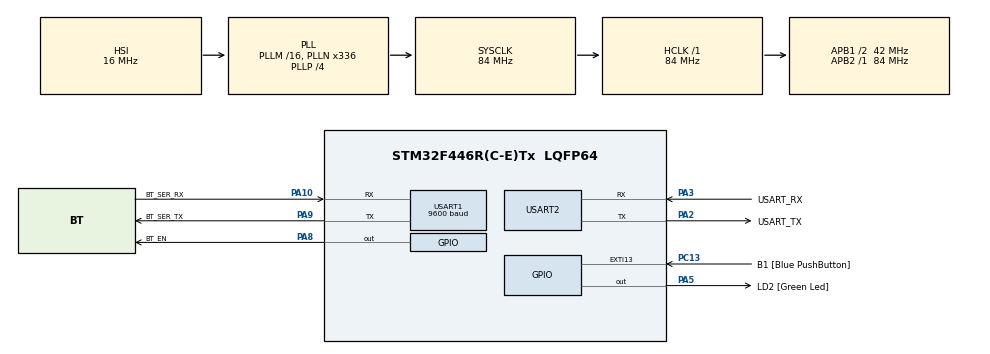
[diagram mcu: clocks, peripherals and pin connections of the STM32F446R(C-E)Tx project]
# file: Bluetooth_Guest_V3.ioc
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Mcu.Family=STM32F4
Mcu.Name=STM32F446R(C-E)Tx
Mcu.Package=LQFP64
NVIC.PriorityGroup=NVIC_PRIORITYGROUP_0
PA10.GPIO_Label=BT_SER_RX
PA10.Mode=Asynchronous
PA10.Signal=USART1_RX
PA13.GPIO_Label=TMS
PA13.Mode=Serial_Wire
PA13.Signal=SYS_JTMS-SWDIO
PA14.GPIO_Label=TCK
PA14.Mode=Serial_Wire
PA14.Signal=SYS_JTCK-SWCLK
PA2.GPIO_Label=USART_TX
PA2.Mode=Asynchronous
PA2.Signal=USART2_TX
PA3.GPIO_Label=USART_RX
PA3.Mode=Asynchronous
PA3.Signal=USART2_RX
PA5.GPIO_Label=LD2 [Green Led]
PA5.Signal=GPIO_Output
PA8.GPIO_Label=BT_EN
PA8.Signal=GPIO_Output
PA9.GPIO_Label=BT_SER_TX
PA9.Mode=Asynchronous
PA9.Signal=USART1_TX
PB3.GPIO_Label=SWO
PB3.Signal=SYS_JTDO-SWO
PC13.GPIO_Label=B1 [Blue PushButton]
PC13.GPIO_ModeDefaultEXTI=GPIO_MODE_IT_FALLING
PC13.Signal=GPXTI13
PC14-OSC32_IN.Mode=LSE-External-Oscillator
PC14-OSC32_IN.Signal=RCC_OSC32_IN
PC15-OSC32_OUT.Mode=LSE-External-Oscillator
PC15-OSC32_OUT.Signal=RCC_OSC32_OUT
PH0-OSC_IN.Mode=HSE-External-Oscillator
PH0-OSC_IN.Signal=RCC_OSC_IN
PH1-OSC_OUT.Mode=HSE-External-Oscillator
PH1-OSC_OUT.Signal=RCC_OSC_OUT
ProjectManager.HeapSize=0x200
ProjectManager.StackSize=0x400
ProjectManager.TargetToolchain=MDK-ARM V5.32
RCC.48MHZClocksFreq_Value=84000000
RCC.AHBFreq_Value=84000000
RCC.APB1CLKDivider=RCC_HCLK_DIV2
RCC.APB1Freq_Value=42000000
RCC.APB1TimFreq_Value=84000000
RCC.APB2Freq_Value=84000000
RCC.APB2TimFreq_Value=84000000
RCC.CortexFreq_Value=84000000
RCC.FLatency-AdvancedSettings=FLASH_LATENCY_2
RCC.HCLKFreq_Value=84000000
RCC.HSE_VALUE=8000000
RCC.HSI_VALUE=16000000
RCC.PLLN=336
RCC.PLLP=RCC_PLLP_DIV4
RCC.SYSCLKFreq_VALUE=84000000
RCC.SYSCLKSource=RCC_SYSCLKSOURCE_PLLCLK
RCC.USBFreq_Value=168000000
RCC.VCOOutputFreq_Value=336000000
USART1.BaudRate=9600
USART1.VirtualMode=VM_ASYNC
USART2.VirtualMode=VM_ASYNC
board=NUCLEO-F446RE

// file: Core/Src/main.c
/* USER CODE BEGIN Header */
/**
  ******************************************************************************
  * @file           : main.c
  * @brief          : Main program body
  ******************************************************************************
  * @attention
  *
  * Copyright (c) 2024 STMicroelectronics.
  * All rights reserved.
  *
  * This software is licensed under terms that can be found in the LICENSE file
  * in the root directory of this software component.
  * If no LICENSE file comes with this software, it is provided AS-IS.
  *
  ******************************************************************************
  */
/* USER CODE END Header */
#include "main.h"

/* USER CODE BEGIN Includes */
#include "BT_Commands.h"

/* USER CODE END Includes */

UART_HandleTypeDef huart1;
UART_HandleTypeDef huart2;

void SystemClock_Config(void);
static void MX_GPIO_Init(void);
static void MX_USART1_UART_Init(void);
static void MX_USART2_UART_Init(void);

/* USER CODE BEGIN 0 */
void Serial_Print_ADDR()
{
		SerialSendCommand("AT+ADDR?\r\n");
		char readed = SerialRead();
		while (readed != 0x00){
				HAL_UART_Transmit(&huart2, (uint8_t *)&readed, 1, HAL_MAX_DELAY);
				readed = SerialRead();
		}
		HAL_UART_Transmit(&huart2, (uint8_t *)&"\n", 1, HAL_MAX_DELAY);
}

void Serial_Init_Master()
{
		// Configurando o ROLE para ser Master
		HAL_Delay(100);
		SerialSendCommand("AT+ROLE=1\r\n");
		while (SerialOK() == 0)
		{
				SerialSendCommand("AT+ROLE=1\r\n");
				HAL_Delay(100);
		}
		HAL_UART_Transmit(&huart2, (uint8_t *)&"OK ROLE\n", 8, HAL_MAX_DELAY);

		// Configurando o CMODE para se Conectar a um endereço fixo
		HAL_Delay(100);
		SerialSendCommand("AT+CMODE=0\r\n");
		while (SerialOK() == 0)
		{
				SerialSendCommand("AT+CMODE=0\r\n");
				HAL_Delay(100);
		}
		HAL_UART_Transmit(&huart2, (uint8_t *)&"OK CMODE\n", 9, HAL_MAX_DELAY);

		// Configurando o BIND para se Conectar no endereço do Bluetooth selecionado
		HAL_Delay(100);
		SerialSendCommand("AT+BIND=98D3,61,F60B4D\r\n");
		while (SerialOK() == 0)
		{
				SerialSendCommand("AT+BIND=98D3,61,F60B4D\r\n");
				HAL_Delay(100);
		}
		HAL_UART_Transmit(&huart2, (uint8_t *)&"OK BIND\n", 9, HAL_MAX_DELAY);
}

void Serial_Init_Slave()
{
		// Configurando o ROLE para ser Master
		HAL_Delay(100);
		SerialSendCommand("AT+ROLE=0\r\n");
		while (SerialOK() == 0)
		{
				SerialSendCommand("AT+ROLE=0\r\n");
				HAL_Delay(100);
		}
		HAL_UART_Transmit(&huart2, (uint8_t *)&"OK ROLE\n", 8, HAL_MAX_DELAY);
}

void Serial_Change_Name()
{
		// Configurando o ROLE para ser Master
		HAL_Delay(100);
		SerialSendCommand("AT+NAME=JORGE\r\n");
		while (SerialOK() == 0)
		{
				SerialSendCommand("AT+NAME=JORGE\r\n");
				HAL_Delay(100);
		}
		HAL_UART_Transmit(&huart2, (uint8_t *)&"OK NAME\n", 8, HAL_MAX_DELAY);
}
void Serial_Clear_Buffer(){
	char received = SerialRead();
	while (SerialRead() != 0x00)
		{
			received = SerialRead();
			HAL_UART_Transmit(&huart2, (uint8_t *)&received, 1, HAL_MAX_DELAY);
		}
}
/* USER CODE END 0 */

int main(void)
{

  /* MCU Configuration--------------------------------------------------------*/

  /* Reset of all peripherals, Initializes the Flash interface and the Systick. */
  HAL_Init();

  /* Configure the system clock */
  SystemClock_Config();

  /* Initialize all configured peripherals */
  MX_GPIO_Init();
  MX_USART1_UART_Init();
  MX_USART2_UART_Init();

  /* USER CODE BEGIN 2 */
	HAL_UART_Transmit(&huart2, (uint8_t *)"Starting\r\n", 10, HAL_MAX_DELAY);
	SerialSendCommand("AT\r\n");
	while (SerialOK() == 0)
	{
		SerialSendCommand("AT\r\n");
		HAL_Delay(300);
	}

	Serial_Print_ADDR();
	Serial_Clear_Buffer();

	Serial_Init_Slave();
	Serial_Clear_Buffer();

	Serial_Change_Name();
	Serial_Clear_Buffer();

	SerialSendText("\r\n");
  /* USER CODE END 2 */

  /* Infinite loop */
  /* USER CODE BEGIN WHILE */
  while (1)
  {
		char received = SerialRead();
		while (received != 0x00)
		{
				HAL_UART_Transmit(&huart2, (uint8_t *)&received, 1, HAL_MAX_DELAY);
				received = SerialRead();
		}
    /* USER CODE END WHILE */
  }
}

void SystemClock_Config(void)
{
  RCC_OscInitTypeDef RCC_OscInitStruct = {0};
  RCC_ClkInitTypeDef RCC_ClkInitStruct = {0};

  /** Configure the main internal regulator output voltage
  */
  __HAL_RCC_PWR_CLK_ENABLE();
  __HAL_PWR_VOLTAGESCALING_CONFIG(PWR_REGULATOR_VOLTAGE_SCALE3);

  /** Initializes the RCC Oscillators according to the specified parameters
  * in the RCC_OscInitTypeDef structure.
  */
  RCC_OscInitStruct.OscillatorType = RCC_OSCILLATORTYPE_HSI;
  RCC_OscInitStruct.HSIState = RCC_HSI_ON;
  RCC_OscInitStruct.HSICalibrationValue = RCC_HSICALIBRATION_DEFAULT;
  RCC_OscInitStruct.PLL.PLLState = RCC_PLL_ON;
  RCC_OscInitStruct.PLL.PLLSource = RCC_PLLSOURCE_HSI;
  RCC_OscInitStruct.PLL.PLLM = 16;
  RCC_OscInitStruct.PLL.PLLN = 336;
  RCC_OscInitStruct.PLL.PLLP = RCC_PLLP_DIV4;
  RCC_OscInitStruct.PLL.PLLQ = 2;
  RCC_OscInitStruct.PLL.PLLR = 2;
  if (HAL_RCC_OscConfig(&RCC_OscInitStruct) != HAL_OK)
  {
    Error_Handler();
  }

  /** Initializes the CPU, AHB and APB buses clocks
  */
  RCC_ClkInitStruct.ClockType = RCC_CLOCKTYPE_HCLK|RCC_CLOCKTYPE_SYSCLK
                              |RCC_CLOCKTYPE_PCLK1|RCC_CLOCKTYPE_PCLK2;
  RCC_ClkInitStruct.SYSCLKSource = RCC_SYSCLKSOURCE_PLLCLK;
  RCC_ClkInitStruct.AHBCLKDivider = RCC_SYSCLK_DIV1;
  RCC_ClkInitStruct.APB1CLKDivider = RCC_HCLK_DIV2;
  RCC_ClkInitStruct.APB2CLKDivider = RCC_HCLK_DIV1;

  if (HAL_RCC_ClockConfig(&RCC_ClkInitStruct, FLASH_LATENCY_2) != HAL_OK)
  {
    Error_Handler();
  }
}

static void MX_USART1_UART_Init(void)
{

  huart1.Instance = USART1;
  huart1.Init.BaudRate = 9600;
  huart1.Init.WordLength = UART_WORDLENGTH_8B;
  huart1.Init.StopBits = UART_STOPBITS_1;
  huart1.Init.Parity = UART_PARITY_NONE;
  huart1.Init.Mode = UART_MODE_TX_RX;
  huart1.Init.HwFlowCtl = UART_HWCONTROL_NONE;
  huart1.Init.OverSampling = UART_OVERSAMPLING_16;
  if (HAL_UART_Init(&huart1) != HAL_OK)
  {
    Error_Handler();
  }

}

static void MX_USART2_UART_Init(void)
{

  huart2.Instance = USART2;
  huart2.Init.BaudRate = 115200;
  huart2.Init.WordLength = UART_WORDLENGTH_8B;
  huart2.Init.StopBits = UART_STOPBITS_1;
  huart2.Init.Parity = UART_PARITY_NONE;
  huart2.Init.Mode = UART_MODE_TX_RX;
  huart2.Init.HwFlowCtl = UART_HWCONTROL_NONE;
  huart2.Init.OverSampling = UART_OVERSAMPLING_16;
  if (HAL_UART_Init(&huart2) != HAL_OK)
  {
    Error_Handler();
  }

}

static void MX_GPIO_Init(void)
{
  GPIO_InitTypeDef GPIO_InitStruct = {0};

  /* GPIO Ports Clock Enable */
  __HAL_RCC_GPIOC_CLK_ENABLE();
  __HAL_RCC_GPIOH_CLK_ENABLE();
  __HAL_RCC_GPIOA_CLK_ENABLE();
  __HAL_RCC_GPIOB_CLK_ENABLE();

  /*Configure GPIO pin Output Level */
  HAL_GPIO_WritePin(GPIOA, LD2_Pin|BT_EN_Pin, GPIO_PIN_RESET);

  /*Configure GPIO pin : B1_Pin */
  GPIO_InitStruct.Pin = B1_Pin;
  GPIO_InitStruct.Mode = GPIO_MODE_IT_FALLING;
  GPIO_InitStruct.Pull = GPIO_NOPULL;
  HAL_GPIO_Init(B1_GPIO_Port, &GPIO_InitStruct);

  /*Configure GPIO pins : LD2_Pin BT_EN_Pin */
  GPIO_InitStruct.Pin = LD2_Pin|BT_EN_Pin;
  GPIO_InitStruct.Mode = GPIO_MODE_OUTPUT_PP;
  GPIO_InitStruct.Pull = GPIO_NOPULL;
  GPIO_InitStruct.Speed = GPIO_SPEED_FREQ_LOW;
  HAL_GPIO_Init(GPIOA, &GPIO_InitStruct);

}

void Error_Handler(void)
{
  __disable_irq();
  while (1)
  {
  }
}
